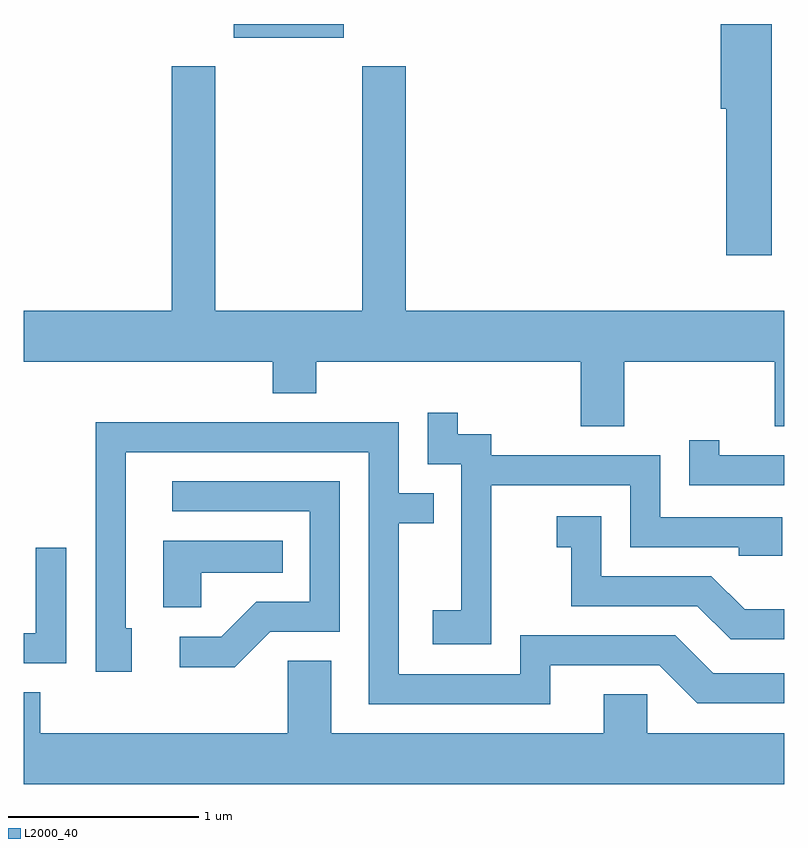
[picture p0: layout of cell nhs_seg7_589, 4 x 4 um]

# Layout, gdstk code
import gdstk
lib = gdstk.Library(unit=1e-6, precision=1e-09)
def R(c, l, rs):  # rectangles x0, y0, x1, y1
    for r in rs: c.add(gdstk.rectangle(r[:2], r[2:], *l))
def P(c, l, *ps):  # polygons
    for p in ps: c.add(gdstk.Polygon(p, *l))
L2000_40 = (2000, 40)

nhs_seg7_589 = lib.new_cell('nhs_seg7_589')
R(nhs_seg7_589, L2000_40, [(202.716,1778.181,203.294,1778.252)])
P(nhs_seg7_589, L2000_40, [(205.544,1778.252),(205.276,1778.252),(205.276,1777.806),(205.306,1777.806),(205.306,1777.036),(205.544,1777.036)],
  [(204.769,1776.476),(205.561,1776.476),(205.561,1776.136),(205.611,1776.136),(205.611,1776.744),(203.619,1776.744),(203.619,1778.029),(203.391,1778.029),(203.391,1776.744),(202.619,1776.744),(202.619,1778.029),(202.391,1778.029),(202.391,1776.744),(201.611,1776.744),(201.611,1776.476),(202.921,1776.476),(202.921,1776.311),(203.149,1776.311),(203.149,1776.476),(204.541,1776.476),(204.541,1776.136),(204.769,1776.136)],
  [(204.069,1775.826),(204.801,1775.826),(204.801,1775.501),(205.371,1775.501),(205.371,1775.456),(205.599,1775.456),(205.599,1775.659),(204.959,1775.659),(204.959,1775.984),(204.069,1775.984),(204.069,1776.094),(203.894,1776.094),(203.894,1776.208),(203.736,1776.208),(203.736,1775.936),(203.911,1775.936),(203.911,1775.169),(203.761,1775.169),(203.761,1774.991),(204.069,1774.991)],
  [(204.379,1774.881),(204.954,1774.881),(205.154,1774.681),(205.611,1774.681),(205.611,1774.839),(205.237,1774.839),(205.037,1775.039),(204.221,1775.039),(204.221,1774.834),(203.584,1774.834),(203.584,1775.626),(203.768,1775.626),(203.768,1775.784),(203.584,1775.784),(203.584,1776.159),(201.991,1776.159),(201.991,1774.846),(202.179,1774.846),(202.179,1775.074),(202.149,1775.074),(202.149,1776.001),(203.426,1776.001),(203.426,1774.676),(204.379,1774.676)],
  [(205.611,1775.984),(205.269,1775.984),(205.269,1776.063),(205.111,1776.063),(205.111,1775.826),(205.611,1775.826)],
  [(202.907,1775.056),(203.274,1775.056),(203.274,1775.849),(202.393,1775.849),(202.393,1775.691),(203.116,1775.691),(203.116,1775.214),(202.834,1775.214),(202.649,1775.029),(202.433,1775.029),(202.433,1774.871),(202.722,1774.871)],
  [(205.611,1775.174),(205.402,1775.174),(205.227,1775.349),(204.649,1775.349),(204.649,1775.664),(204.413,1775.664),(204.413,1775.501),(204.491,1775.501),(204.491,1775.191),(205.154,1775.191),(205.329,1775.016),(205.611,1775.016)],
  [(202.544,1775.366),(202.973,1775.366),(202.973,1775.534),(202.346,1775.534),(202.346,1775.186),(202.544,1775.186)],
  [(201.834,1775.498),(201.676,1775.498),(201.676,1775.049),(201.611,1775.049),(201.611,1774.891),(201.834,1774.891)],
  [(205.611,1774.524),(204.889,1774.524),(204.889,1774.729),(204.661,1774.729),(204.661,1774.524),(203.229,1774.524),(203.229,1774.904),(203.001,1774.904),(203.001,1774.524),(201.699,1774.524),(201.699,1774.739),(201.611,1774.739),(201.611,1774.256),(205.611,1774.256)])

lib.write_gds('nhs_seg7_589.gds')
